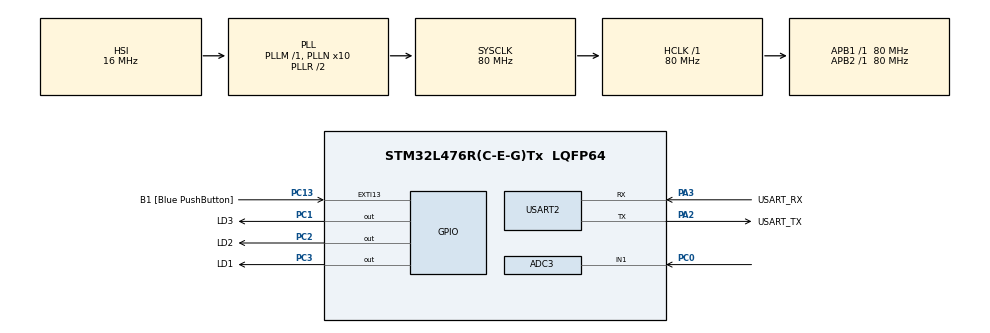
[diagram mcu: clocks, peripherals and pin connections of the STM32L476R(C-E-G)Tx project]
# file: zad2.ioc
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ADC3.Channel-1\#ChannelRegularConversion=ADC_CHANNEL_1
ADC3.NbrOfConversionFlag=1
ADC3.OffsetNumber-1\#ChannelRegularConversion=ADC_OFFSET_NONE
ADC3.Rank-1\#ChannelRegularConversion=1
ADC3.SamplingTime-1\#ChannelRegularConversion=ADC_SAMPLETIME_2CYCLES_5
Mcu.Family=STM32L4
Mcu.Name=STM32L476R(C-E-G)Tx
Mcu.Package=LQFP64
NVIC.EXTI15_10_IRQn=true\:6\:0\:true\:false\:true\:true\:true\:true
NVIC.PriorityGroup=NVIC_PRIORITYGROUP_4
PA13\ (JTMS-SWDIO).GPIO_Label=TMS
PA13\ (JTMS-SWDIO).Mode=Serial_Wire
PA13\ (JTMS-SWDIO).Signal=SYS_JTMS-SWDIO
PA14\ (JTCK-SWCLK).GPIO_Label=TCK
PA14\ (JTCK-SWCLK).Mode=Serial_Wire
PA14\ (JTCK-SWCLK).Signal=SYS_JTCK-SWCLK
PA2.GPIO_Label=USART_TX
PA2.GPIO_Mode=GPIO_MODE_AF_PP
PA2.GPIO_PuPd=GPIO_NOPULL
PA2.GPIO_Speed=GPIO_SPEED_FREQ_VERY_HIGH
PA2.Mode=Asynchronous
PA2.Signal=USART2_TX
PA3.GPIO_Label=USART_RX
PA3.GPIO_Mode=GPIO_MODE_AF_PP
PA3.GPIO_PuPd=GPIO_NOPULL
PA3.GPIO_Speed=GPIO_SPEED_FREQ_VERY_HIGH
PA3.Mode=Asynchronous
PA3.Signal=USART2_RX
PB3\ (JTDO-TRACESWO).GPIO_Label=SWO
PB3\ (JTDO-TRACESWO).Signal=SYS_JTDO-SWO
PC0.Signal=ADCx_IN1
PC1.GPIO_Label=LD3
PC1.Signal=GPIO_Output
PC13.GPIO_Label=B1 [Blue PushButton]
PC13.GPIO_ModeDefaultEXTI=GPIO_MODE_IT_FALLING
PC13.GPIO_PuPd=GPIO_NOPULL
PC13.Signal=GPXTI13
PC14-OSC32_IN\ (PC14).Mode=LSE-External-Oscillator
PC14-OSC32_IN\ (PC14).Signal=RCC_OSC32_IN
PC15-OSC32_OUT\ (PC15).Mode=LSE-External-Oscillator
PC15-OSC32_OUT\ (PC15).Signal=RCC_OSC32_OUT
PC2.GPIO_Label=LD2
PC2.Signal=GPIO_Output
PC3.GPIO_Label=LD1
PC3.Signal=GPIO_Output
PH0-OSC_IN\ (PH0).Signal=RCC_OSC_IN
PH1-OSC_OUT\ (PH1).Signal=RCC_OSC_OUT
ProjectManager.HeapSize=0x200
ProjectManager.StackSize=0x400
ProjectManager.TargetToolchain=STM32CubeIDE
RCC.ADCFreq_Value=64000000
RCC.AHBFreq_Value=80000000
RCC.APB1Freq_Value=80000000
RCC.APB1TimFreq_Value=80000000
RCC.APB2Freq_Value=80000000
RCC.APB2TimFreq_Value=80000000
RCC.CortexFreq_Value=80000000
RCC.HCLKFreq_Value=80000000
RCC.HSE_VALUE=8000000
RCC.HSI_VALUE=16000000
RCC.MSI_VALUE=4000000
RCC.PLLN=10
RCC.PLLSourceVirtual=RCC_PLLSOURCE_HSI
RCC.PREFETCH_ENABLE=1
RCC.SYSCLKFreq_VALUE=80000000
RCC.SYSCLKSource=RCC_SYSCLKSOURCE_PLLCLK
RCC.USBFreq_Value=64000000
RCC.VCOOutputFreq_Value=160000000
SH.ADCx_IN1.0=ADC3_IN1,IN1-Single-Ended
USART2.VirtualMode-Asynchronous=VM_ASYNC
board=NUCLEO-L476RG

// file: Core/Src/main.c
/* USER CODE BEGIN Header */
/**
  ******************************************************************************
  * @file           : main.c
  * @brief          : Main program body
  ******************************************************************************
  * @attention
  *
  * Copyright (c) 2025 STMicroelectronics.
  * All rights reserved.
  *
  * This software is licensed under terms that can be found in the LICENSE file
  * in the root directory of this software component.
  * If no LICENSE file comes with this software, it is provided AS-IS.
  *
  ******************************************************************************
  */
/* USER CODE END Header */
#include "main.h"
#include "adc.h"
#include "usart.h"
#include "gpio.h"

/* USER CODE BEGIN Includes */
#include <stdio.h>
/* USER CODE END Includes */

/* USER CODE BEGIN PV */
uint32_t adc_raw = 0;
volatile uint32_t adc_mv = 0;
/* USER CODE END PV */

void SystemClock_Config(void);

/* USER CODE BEGIN 0 */
uint32_t ADC3_Read(void)
{
    HAL_ADC_Start(&hadc3);                                     // Start ADC
    HAL_ADC_PollForConversion(&hadc3, HAL_MAX_DELAY);          // Wait
    uint32_t value = HAL_ADC_GetValue(&hadc3);                 // Read
    HAL_ADC_Stop(&hadc3);                                      // Stop
    return value;
}

uint32_t ADC_To_mV(uint32_t adc_value)
{
    return (adc_value * 3300) / 4095;
}

void LED_Line_Update(uint32_t voltage_mv)
{
    HAL_GPIO_WritePin(LD1_GPIO_Port, LD1_Pin, GPIO_PIN_RESET);
    HAL_GPIO_WritePin(LD2_GPIO_Port, LD2_Pin, GPIO_PIN_RESET);
    HAL_GPIO_WritePin(LD3_GPIO_Port, LD3_Pin, GPIO_PIN_RESET);

    if (voltage_mv > 3000)
            HAL_GPIO_WritePin(LD3_GPIO_Port, LD3_Pin, GPIO_PIN_SET);

    if (voltage_mv >= 2000)
           HAL_GPIO_WritePin(LD2_GPIO_Port, LD2_Pin, GPIO_PIN_SET);

    if (voltage_mv >= 1000)
        HAL_GPIO_WritePin(LD1_GPIO_Port, LD1_Pin, GPIO_PIN_SET);
}

void ADC_Send_UART(uint32_t adc_value_mv)
{
    char buffer[50];
    int len = snprintf(buffer, sizeof(buffer), "ADC value: %lu mV\r\n", adc_value_mv);
    HAL_UART_Transmit(&huart2, (uint8_t*)buffer, len, HAL_MAX_DELAY);
}

void HAL_GPIO_EXTI_Callback(uint16_t GPIO_Pin)
{
    if(GPIO_Pin == B1_Pin)
    {
        uint32_t adc_raw = ADC3_Read();
        uint32_t adc_mv  = ADC_To_mV(adc_raw);
        ADC_Send_UART(adc_mv);
    }
}

/* USER CODE END 0 */

int main(void)
{

  /* MCU Configuration--------------------------------------------------------*/

  /* Reset of all peripherals, Initializes the Flash interface and the Systick. */
  HAL_Init();

  /* Configure the system clock */
  SystemClock_Config();

  /* Initialize all configured peripherals */
  MX_GPIO_Init();
  MX_USART2_UART_Init();
  MX_ADC3_Init();

  /* Infinite loop */
  /* USER CODE BEGIN WHILE */
  while (1)
  {
	adc_raw = ADC3_Read();
	adc_mv  = ADC_To_mV(adc_raw);
	LED_Line_Update(adc_mv);
	HAL_Delay(50);
    /* USER CODE END WHILE */

  }
}

void SystemClock_Config(void)
{
  RCC_OscInitTypeDef RCC_OscInitStruct = {0};
  RCC_ClkInitTypeDef RCC_ClkInitStruct = {0};

  /** Configure the main internal regulator output voltage
  */
  if (HAL_PWREx_ControlVoltageScaling(PWR_REGULATOR_VOLTAGE_SCALE1) != HAL_OK)
  {
    Error_Handler();
  }

  /** Initializes the RCC Oscillators according to the specified parameters
  * in the RCC_OscInitTypeDef structure.
  */
  RCC_OscInitStruct.OscillatorType = RCC_OSCILLATORTYPE_HSI;
  RCC_OscInitStruct.HSIState = RCC_HSI_ON;
  RCC_OscInitStruct.HSICalibrationValue = RCC_HSICALIBRATION_DEFAULT;
  RCC_OscInitStruct.PLL.PLLState = RCC_PLL_ON;
  RCC_OscInitStruct.PLL.PLLSource = RCC_PLLSOURCE_HSI;
  RCC_OscInitStruct.PLL.PLLM = 1;
  RCC_OscInitStruct.PLL.PLLN = 10;
  RCC_OscInitStruct.PLL.PLLP = RCC_PLLP_DIV7;
  RCC_OscInitStruct.PLL.PLLQ = RCC_PLLQ_DIV2;
  RCC_OscInitStruct.PLL.PLLR = RCC_PLLR_DIV2;
  if (HAL_RCC_OscConfig(&RCC_OscInitStruct) != HAL_OK)
  {
    Error_Handler();
  }

  /** Initializes the CPU, AHB and APB buses clocks
  */
  RCC_ClkInitStruct.ClockType = RCC_CLOCKTYPE_HCLK|RCC_CLOCKTYPE_SYSCLK
                              |RCC_CLOCKTYPE_PCLK1|RCC_CLOCKTYPE_PCLK2;
  RCC_ClkInitStruct.SYSCLKSource = RCC_SYSCLKSOURCE_PLLCLK;
  RCC_ClkInitStruct.AHBCLKDivider = RCC_SYSCLK_DIV1;
  RCC_ClkInitStruct.APB1CLKDivider = RCC_HCLK_DIV1;
  RCC_ClkInitStruct.APB2CLKDivider = RCC_HCLK_DIV1;

  if (HAL_RCC_ClockConfig(&RCC_ClkInitStruct, FLASH_LATENCY_4) != HAL_OK)
  {
    Error_Handler();
  }
}

void Error_Handler(void)
{
  __disable_irq();
  while (1)
  {
  }
}
